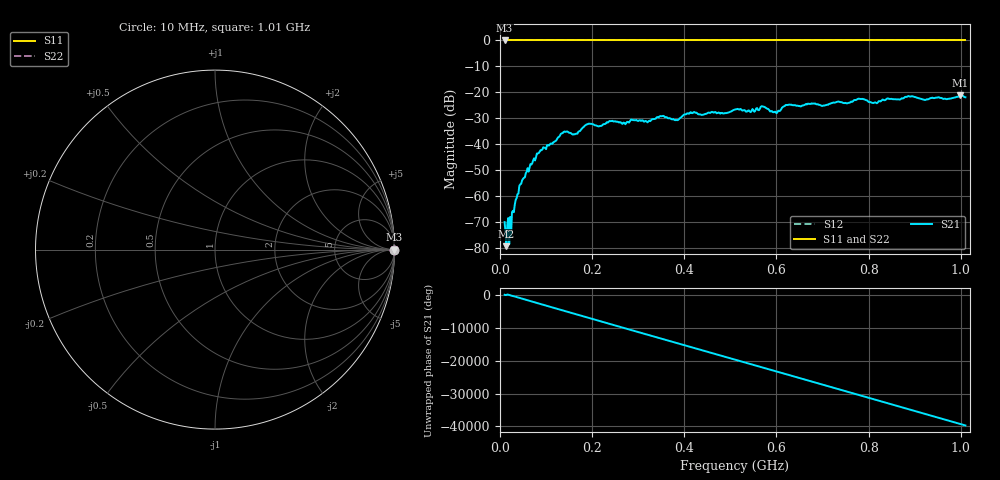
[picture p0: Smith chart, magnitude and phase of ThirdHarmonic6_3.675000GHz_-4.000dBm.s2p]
! 8/17/2025 12:25:45 PM
! C:\ANRITSUVNA\TEMP\TEMP.S2P
! CHANNEL.1
! TR.MEASUREMENT
! RAW.DATA
! RF.CORRECTION.OFF
! AVERAGING.OFF
! IF.BANDWIDTH: 5KHZ
! SWEEPTYPE:  FREQ.SWEEP(Linear)
! Reference Plane Port Info
! PORT:  PORT1  PORT2
! DISTANCE:  0  m  0  m
! TIME:  0  s  0  s
! PHASE.OFFSET:  0  deg.  0  deg.
! LOSS:  0  dB  0  dB
! REF.LOSS:  0  dB  0  dB
! REF.FREQ:  0  Hz  0  Hz
! Power Info
! POWER:  -20  dBm  -20  dBm
! EFF.POWER:  -20  dBm  -20  dBm
! SOURCE.ATTEN:  0  dB  0  dB
! TEST.ATTEN:  0  dB  0  dB
# GHZ S RI R 50.0
! FREQ.GHZ  S11RE  S11IM  S21RE  S21IM  S12RE  S12IM  S22RE  S22IM
!; PortSelection: Port_12
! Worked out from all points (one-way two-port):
!   501 points, 10 MHz to 1.01 GHz, reference 50 ohm
!   highest |S21| = -21.19 dB at 998 MHz (marker M1); lowest = -79.2 dB at 14 MHz (marker M2)
!   lowest |S11| = 0.0 dB at 10 MHz (marker M3)
!   |S11| at or under -10 dB: nowhere
!   |S22| runs from 0.0 to 0.0 dB; largest |S21 - S12| = 1.1
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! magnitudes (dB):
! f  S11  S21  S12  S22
! 10 MHz  0.0  -70.0  0.0  0.0
! 14 MHz  0.0  -79.2  0.0  0.0
! 16 MHz  0.0  -70.7  0.0  0.0
! 24 MHz  0.0  -75.2  0.0  0.0
! 30 MHz  0.0  -66.2  0.0  0.0
! 46 MHz  0.0  -55.2  0.0  0.0
! 84 MHz  0.0  -43.4  0.0  0.0
! 136 MHz  0.0  -35.7  0.0  0.0
! 164 MHz  0.0  -36.0  0.0  0.0
! 178 MHz  0.0  -33.9  0.0  0.0
! 192 MHz  0.0  -32.1  0.0  0.0
! 344 MHz  0.0  -29.7  0.0  0.0
! 384 MHz  0.0  -30.7  0.0  0.0
! 410 MHz  0.0  -28.2  0.0  0.0
! 510 MHz  0.0  -26.6  0.0  0.0
! 570 MHz  0.0  -25.4  0.0  0.0
! 598 MHz  0.0  -27.5  0.0  0.0
! 624 MHz  0.0  -24.8  0.0  0.0
! 678 MHz  0.0  -24.4  0.0  0.0
! 844 MHz  0.0  -22.5  0.0  0.0
! 998 MHz  0.0  -21.2  0.0  0.0
! 1.01 GHz  0.0  -21.9  0.0  0.0
